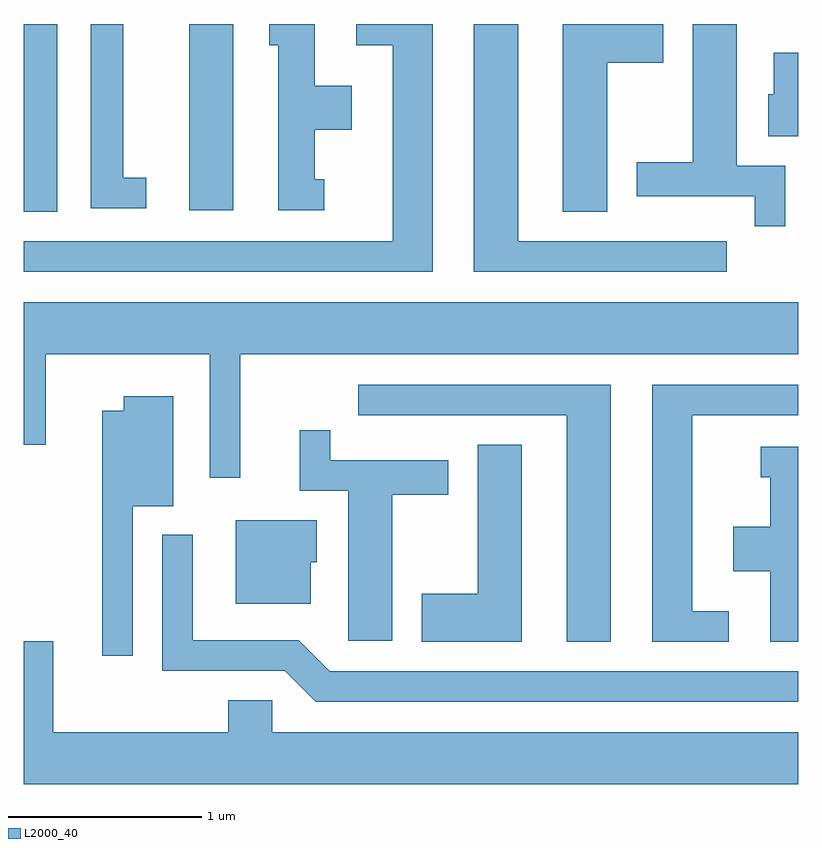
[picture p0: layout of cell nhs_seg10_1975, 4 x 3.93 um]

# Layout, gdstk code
import gdstk
lib = gdstk.Library(unit=1e-6, precision=1e-09)
def R(c, l, rs):  # rectangles x0, y0, x1, y1
    for r in rs: c.add(gdstk.rectangle(r[:2], r[2:], *l))
def P(c, l, *ps):  # polygons
    for p in ps: c.add(gdstk.Polygon(p, *l))
L2000_40 = (2000, 40)

nhs_seg10_1975 = lib.new_cell('nhs_seg10_1975')
R(nhs_seg10_1975, L2000_40, [(243.611,2103.551,243.784,2104.522), (244.466,2103.561,244.694,2104.522)])
P(nhs_seg10_1975, L2000_40, [(245.724,2104.522),(245.328,2104.522),(245.328,2104.411),(245.516,2104.411),(245.516,2103.399),(243.611,2103.399),(243.611,2103.241),(245.724,2103.241)],
  [(246.624,2104.321),(246.914,2104.321),(246.914,2104.522),(246.396,2104.522),(246.396,2103.551),(246.624,2103.551)],
  [(247.243,2103.399),(246.164,2103.399),(246.164,2104.522),(245.936,2104.522),(245.936,2103.241),(247.243,2103.241)],
  [(245.163,2103.719),(245.114,2103.719),(245.114,2103.976),(245.304,2103.976),(245.304,2104.204),(245.114,2104.204),(245.114,2104.522),(244.878,2104.522),(244.878,2104.411),(244.926,2104.411),(244.926,2103.561),(245.163,2103.561)],
  [(247.544,2103.789),(247.294,2103.789),(247.294,2104.522),(247.066,2104.522),(247.066,2103.809),(246.776,2103.809),(246.776,2103.631),(247.386,2103.631),(247.386,2103.478),(247.544,2103.478)],
  [(244.243,2103.729),(244.124,2103.729),(244.124,2104.522),(243.956,2104.522),(243.956,2103.571),(244.243,2103.571)],
  [(247.611,2104.374),(247.486,2104.374),(247.486,2104.159),(247.456,2104.159),(247.456,2103.941),(247.611,2103.941)],
  [(244.729,2102.816),(247.611,2102.816),(247.611,2103.084),(243.611,2103.084),(243.611,2102.348),(243.724,2102.348),(243.724,2102.816),(244.571,2102.816),(244.571,2102.178),(244.729,2102.178)],
  [(246.644,2102.659),(245.338,2102.659),(245.338,2102.501),(246.416,2102.501),(246.416,2101.331),(246.644,2101.331)],
  [(247.253,2101.489),(247.064,2101.489),(247.064,2102.501),(247.611,2102.501),(247.611,2102.659),(246.856,2102.659),(246.856,2101.331),(247.253,2101.331)],
  [(244.174,2102.031),(244.384,2102.031),(244.384,2102.599),(244.126,2102.599),(244.126,2102.524),(244.016,2102.524),(244.016,2101.258),(244.174,2101.258)],
  [(245.514,2102.091),(245.804,2102.091),(245.804,2102.269),(245.194,2102.269),(245.194,2102.423),(245.036,2102.423),(245.036,2102.111),(245.286,2102.111),(245.286,2101.336),(245.514,2101.336)],
  [(246.184,2102.349),(245.956,2102.349),(245.956,2101.579),(245.666,2101.579),(245.666,2101.331),(246.184,2101.331)],
  [(247.611,2102.339),(247.418,2102.339),(247.418,2102.181),(247.466,2102.181),(247.466,2101.924),(247.276,2101.924),(247.276,2101.696),(247.466,2101.696),(247.466,2101.331),(247.611,2101.331)],
  [(245.094,2101.741),(245.124,2101.741),(245.124,2101.959),(244.706,2101.959),(244.706,2101.526),(245.094,2101.526)],
  [(247.611,2101.179),(245.192,2101.179),(245.032,2101.339),(244.484,2101.339),(244.484,2101.883),(244.326,2101.883),(244.326,2101.181),(244.959,2101.181),(245.119,2101.021),(247.611,2101.021)],
  [(247.611,2100.864),(244.894,2100.864),(244.894,2101.029),(244.666,2101.029),(244.666,2100.864),(243.764,2100.864),(243.764,2101.334),(243.611,2101.334),(243.611,2100.596),(247.611,2100.596)])

lib.write_gds('nhs_seg10_1975.gds')
